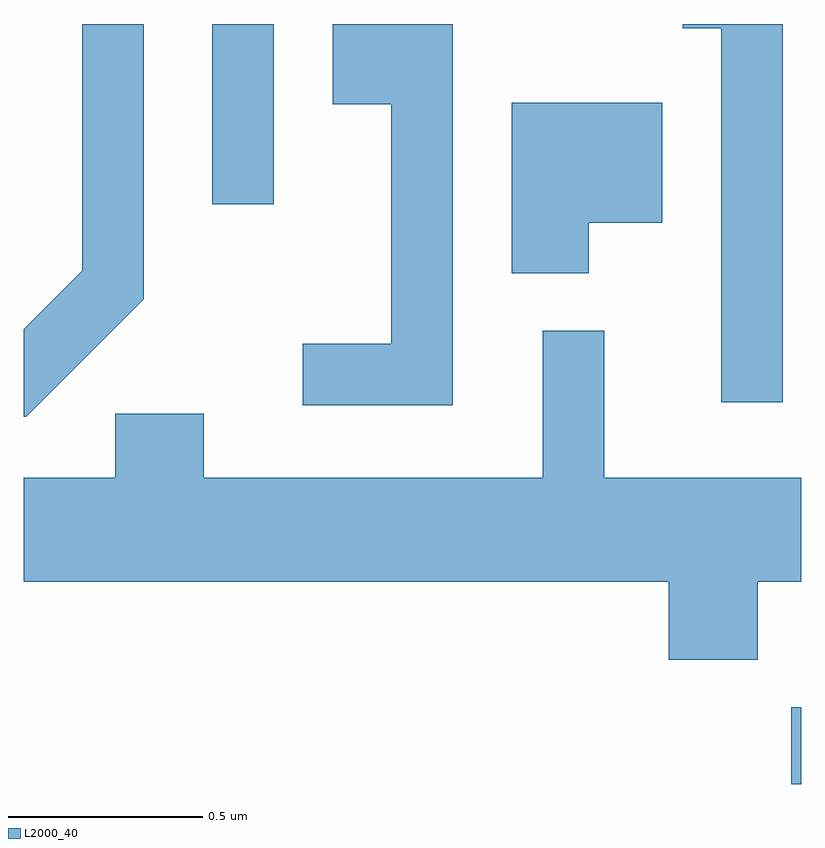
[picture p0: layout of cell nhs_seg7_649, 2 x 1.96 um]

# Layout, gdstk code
import gdstk
lib = gdstk.Library(unit=1e-6, precision=1e-09)
def R(c, l, rs):  # rectangles x0, y0, x1, y1
    for r in rs: c.add(gdstk.rectangle(r[:2], r[2:], *l))
def P(c, l, *ps):  # polygons
    for p in ps: c.add(gdstk.Polygon(p, *l))
L2000_40 = (2000, 40)

nhs_seg7_649 = lib.new_cell('nhs_seg7_649')
R(nhs_seg7_649, L2000_40, [(191.586,1769.296,191.611,1769.494), (190.096,1770.788,190.254,1771.252)])
P(nhs_seg7_649, L2000_40, [(191.564,1771.252),(191.306,1771.252),(191.306,1771.241),(191.406,1771.241),(191.406,1770.278),(191.564,1770.278)],
  [(190.714,1771.252),(190.406,1771.252),(190.406,1771.046),(190.556,1771.046),(190.556,1770.429),(190.328,1770.429),(190.328,1770.271),(190.714,1770.271)],
  [(189.919,1770.544),(189.919,1771.252),(189.761,1771.252),(189.761,1770.617),(189.611,1770.466),(189.611,1770.241),(189.617,1770.241)],
  [(191.064,1770.741),(191.254,1770.741),(191.254,1771.049),(190.866,1771.049),(190.866,1770.611),(191.064,1770.611)],
  [(191.499,1769.816),(191.611,1769.816),(191.611,1770.084),(191.104,1770.084),(191.104,1770.463),(190.946,1770.463),(190.946,1770.084),(190.074,1770.084),(190.074,1770.249),(189.846,1770.249),(189.846,1770.084),(189.611,1770.084),(189.611,1769.816),(191.271,1769.816),(191.271,1769.616),(191.499,1769.616)])

lib.write_gds('nhs_seg7_649.gds')
